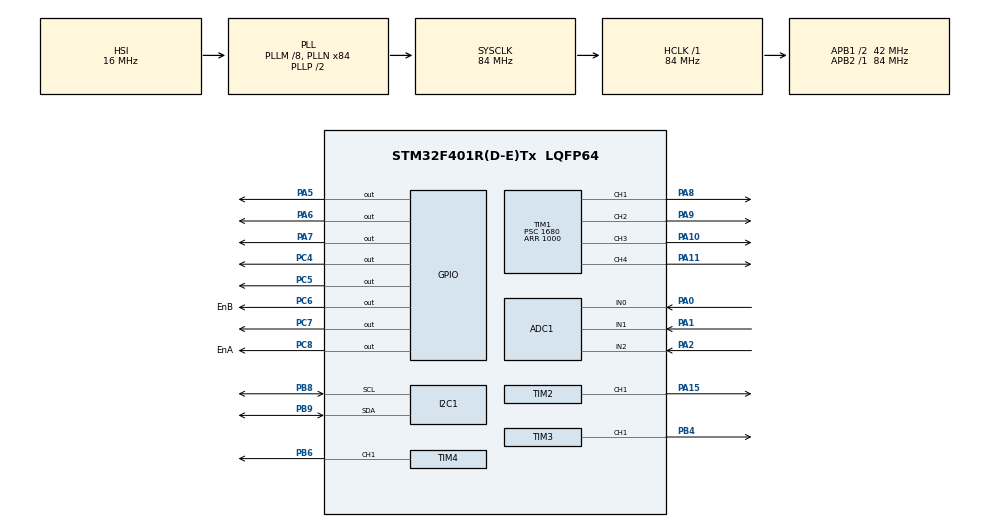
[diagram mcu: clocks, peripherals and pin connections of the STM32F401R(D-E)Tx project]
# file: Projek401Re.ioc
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ADC1.Channel-1\#ChannelRegularConversion=ADC_CHANNEL_0
ADC1.NbrOfConversionFlag=1
ADC1.Rank-1\#ChannelRegularConversion=1
ADC1.SamplingTime-1\#ChannelRegularConversion=ADC_SAMPLETIME_3CYCLES
ADC1.master=1
Mcu.Family=STM32F4
Mcu.Name=STM32F401R(D-E)Tx
Mcu.Package=LQFP64
NVIC.PriorityGroup=NVIC_PRIORITYGROUP_4
PA0-WKUP.Signal=ADCx_IN0
PA1.Signal=ADCx_IN1
PA10.Signal=S_TIM1_CH3
PA11.Signal=S_TIM1_CH4
PA13.Mode=Serial_Wire
PA13.Signal=SYS_JTMS-SWDIO
PA14.Mode=Serial_Wire
PA14.Signal=SYS_JTCK-SWCLK
PA15.Signal=S_TIM2_CH1_ETR
PA2.Signal=ADCx_IN2
PA5.Signal=GPIO_Output
PA6.Signal=GPIO_Output
PA7.Signal=GPIO_Output
PA8.Signal=S_TIM1_CH1
PA9.Signal=S_TIM1_CH2
PB4.Signal=S_TIM3_CH1
PB6.Signal=S_TIM4_CH1
PB8.Mode=I2C
PB8.Signal=I2C1_SCL
PB9.Mode=I2C
PB9.Signal=I2C1_SDA
PC4.Signal=GPIO_Output
PC5.Signal=GPIO_Output
PC6.GPIO_Label=EnB
PC6.Signal=GPIO_Output
PC7.Signal=GPIO_Output
PC8.GPIO_Label=EnA
PC8.Signal=GPIO_Output
PH0\ -\ OSC_IN.Mode=HSE-External-Oscillator
PH0\ -\ OSC_IN.Signal=RCC_OSC_IN
PH1\ -\ OSC_OUT.Mode=HSE-External-Oscillator
PH1\ -\ OSC_OUT.Signal=RCC_OSC_OUT
ProjectManager.HeapSize=0x200
ProjectManager.StackSize=0x400
ProjectManager.TargetToolchain=MDK-ARM V5.27
RCC.48MHZClocksFreq_Value=42000000
RCC.AHBFreq_Value=84000000
RCC.APB1CLKDivider=RCC_HCLK_DIV2
RCC.APB1Freq_Value=42000000
RCC.APB1TimFreq_Value=84000000
RCC.APB2Freq_Value=84000000
RCC.APB2TimFreq_Value=84000000
RCC.CortexFreq_Value=84000000
RCC.HCLKFreq_Value=84000000
RCC.HSE_VALUE=25000000
RCC.HSI_VALUE=16000000
RCC.LSE_VALUE=32768
RCC.PLLM=8
RCC.PLLN=84
RCC.SYSCLKFreq_VALUE=84000000
RCC.SYSCLKSource=RCC_SYSCLKSOURCE_PLLCLK
RCC.VCOOutputFreq_Value=168000000
SH.ADCx_IN0.0=ADC1_IN0,IN0
SH.ADCx_IN1.0=ADC1_IN1,IN1
SH.ADCx_IN2.0=ADC1_IN2,IN2
SH.S_TIM1_CH1.0=TIM1_CH1,PWM Generation1 CH1
SH.S_TIM1_CH2.0=TIM1_CH2,PWM Generation2 CH2
SH.S_TIM1_CH3.0=TIM1_CH3,PWM Generation3 CH3
SH.S_TIM1_CH4.0=TIM1_CH4,PWM Generation4 CH4
SH.S_TIM2_CH1_ETR.0=TIM2_CH1,PWM Generation1 CH1
SH.S_TIM3_CH1.0=TIM3_CH1,PWM Generation1 CH1
SH.S_TIM4_CH1.0=TIM4_CH1,PWM Generation1 CH1
TIM1.Channel-PWM\ Generation1\ CH1=TIM_CHANNEL_1
TIM1.Channel-PWM\ Generation2\ CH2=TIM_CHANNEL_2
TIM1.Channel-PWM\ Generation3\ CH3=TIM_CHANNEL_3
TIM1.Channel-PWM\ Generation4\ CH4=TIM_CHANNEL_4
TIM1.Period=1000
TIM1.Prescaler=1680
TIM2.Channel-PWM\ Generation1\ CH1=TIM_CHANNEL_1
TIM2.Period=1000
TIM2.Prescaler=1680
TIM3.Channel-PWM\ Generation1\ CH1=TIM_CHANNEL_1
TIM3.Period=2000
TIM4.Channel-PWM\ Generation1\ CH1=TIM_CHANNEL_1
TIM4.Period=1740
VP_RTC_VS_RTC_Activate.Mode=RTC_Enabled
VP_RTC_VS_RTC_Calendar.Mode=RTC_Calendar
board=custom

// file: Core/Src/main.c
/* USER CODE BEGIN Header */
/**
  ******************************************************************************
  * @file           : main.c
  * @brief          : Main program body
  ******************************************************************************
  * @attention
  *
  * <h2><center>&copy; Copyright (c) 2022 STMicroelectronics.
  * All rights reserved.</center></h2>
  *
  * This software component is licensed by ST under BSD 3-Clause license,
  * the "License"; You may not use this file except in compliance with the
  * License. You may obtain a copy of the License at:
  *                        opensource.org/licenses/BSD-3-Clause
  *
  ******************************************************************************
  */
/* USER CODE END Header */
#include "main.h"

/* USER CODE BEGIN Includes */
#include "i2c-lcd.h"
#include <stdio.h>
#include "math.h"
/* USER CODE END Includes */

/* USER CODE BEGIN PD */
#define ON 1
#define OFF 0
/* USER CODE END PD */

ADC_HandleTypeDef hadc1;

I2C_HandleTypeDef hi2c1;

RTC_HandleTypeDef hrtc;

TIM_HandleTypeDef htim1;
TIM_HandleTypeDef htim2;
TIM_HandleTypeDef htim3;
TIM_HandleTypeDef htim4;

/* USER CODE BEGIN PV */
int ADC_VAL[3];	//A1 A0
char buffer[80];
RTC_DateTypeDef gDate;
RTC_TimeTypeDef gTime;
int lastTServo,flagServo,degree = 25;
int lastTLCD;
int address[30];
int pumpOn = 0;
int lastTStepper,step;

float voltage;
float voltage2,offset,arus;

uint8_t tick,ts;
float Kp,Ki,Kd;
float setpoint = 13000;
float Err,IErr,DErr,LErr,SumError;
int out;

/*
  Kalau mau set Jam Menit Detik
	Ctrl+F , Cari sTime

	Rubah Variable dibawah menjadi yang diinginkan:
	sTime.Hours = 0x0;
  sTime.Minutes = 0x0;
  sTime.Seconds = 0x0;

	Misal jam 4 sore, menit 30, detik 10:
	sTime.Hours = 0x16;
  sTime.Minutes = 0x30;
  sTime.Seconds = 0x0;
*/
/* USER CODE END PV */

void SystemClock_Config(void);
static void MX_GPIO_Init(void);
static void MX_ADC1_Init(void);
static void MX_I2C1_Init(void);
static void MX_TIM1_Init(void);
static void MX_TIM2_Init(void);
static void MX_RTC_Init(void);
static void MX_TIM4_Init(void);
static void MX_TIM3_Init(void);
/* USER CODE BEGIN PFP */
#define SYSTICKCLOCK 84000000ULL
#define SYSTICKPERUS (SYSTICKCLOCK / 1000000UL)

// delay has to constant expression
static void inline __attribute__((always_inline)) delayus(unsigned delay)
{
    uint32_t ticks = SYSTICKPERUS * delay;
    uint32_t start_tick = SysTick -> VAL;

    while(SysTick -> VAL - start_tick < ticks);
}

void pump(int trig){
		if (trig == 1){
			pumpOn = 1;
			HAL_GPIO_WritePin(GPIOC,GPIO_PIN_7,GPIO_PIN_RESET); // Relay Pompa Menyala dan Servo Sweeping
			if (HAL_GetTick() - lastTServo >= 50){
				if (flagServo == 0) degree++;
				else if (flagServo == 1) degree--;
				if (degree >= 100) flagServo = 1;
				else if (degree <= 50) flagServo = 0;
				lastTServo = HAL_GetTick();
			}
		}
		else if (trig == 0){
			pumpOn = 0;
			HAL_GPIO_WritePin(GPIOC,GPIO_PIN_7,GPIO_PIN_SET); // Relay Pompa Mati dan Servo Default Position
			lastTServo = HAL_GetTick();
			degree = 75;
		}
	}

/* USER CODE END PFP */

/* USER CODE BEGIN 0 */

int map(long x, long in_min, long in_max, long out_min, long out_max) {
  return (x - in_min) * (out_max - out_min) / (in_max - in_min) + out_min;
}

int input = 5;
// 0 - 100% -> 3% 12%

void stepper(int delay,int arah){
		if (arah == 1){
			HAL_GPIO_WritePin(GPIOA,GPIO_PIN_6,GPIO_PIN_SET);//Dir Stepper 1
			HAL_GPIO_WritePin(GPIOC,GPIO_PIN_4,GPIO_PIN_SET);//Dir Stepper 2
		}
		else if (arah == 0){
			HAL_GPIO_WritePin(GPIOA,GPIO_PIN_6,GPIO_PIN_RESET);//Dir Stepper 1
			HAL_GPIO_WritePin(GPIOC,GPIO_PIN_4,GPIO_PIN_RESET);//Dir Stepper 2
		}

		if (HAL_GetTick() - lastTStepper >= 10){
			lastTStepper = HAL_GetTick();

			step ^= 1;
		}

		if (step == 0){
			HAL_GPIO_WritePin(GPIOA,GPIO_PIN_7,GPIO_PIN_SET);//Step ON Stepper 1
			HAL_GPIO_WritePin(GPIOC,GPIO_PIN_5,GPIO_PIN_SET);//Step ON Stepper 2
		}
		else if (step == 1){
			HAL_GPIO_WritePin(GPIOA,GPIO_PIN_7,GPIO_PIN_RESET);//Step OFF Stepper 1
			HAL_GPIO_WritePin(GPIOC,GPIO_PIN_5,GPIO_PIN_RESET);//Step OFF Stepper 2
		}

		//HAL_GPIO_WritePin(GPIOA,GPIO_PIN_7,GPIO_PIN_SET);//Step ON Stepper 1
		//HAL_GPIO_WritePin(GPIOC,GPIO_PIN_5,GPIO_PIN_SET);//Step ON Stepper 2
		//HAL_Delay(10);
		//delayus(500);
		//HAL_GPIO_WritePin(GPIOA,GPIO_PIN_7,GPIO_PIN_RESET);//Step ON Stepper 1
		//HAL_GPIO_WritePin(GPIOC,GPIO_PIN_5,GPIO_PIN_RESET);//Step ON Stepper 2
		//delayus(500);
		//HAL_Delay(10);

}

void ADC_Select_CH0 (void)
{
	ADC_ChannelConfTypeDef sConfig = {0};

	  sConfig.Channel = ADC_CHANNEL_0;
	  sConfig.Rank = 1;
	  sConfig.SamplingTime = ADC_SAMPLETIME_112CYCLES;
	  if (HAL_ADC_ConfigChannel(&hadc1, &sConfig) != HAL_OK)
	  {
	    Error_Handler();
	  }
}

void ADC_Select_CH1 (void)
{
	ADC_ChannelConfTypeDef sConfig = {0};

	  sConfig.Channel = ADC_CHANNEL_1;
	  sConfig.Rank = 1;
	  sConfig.SamplingTime = ADC_SAMPLETIME_112CYCLES;
	  if (HAL_ADC_ConfigChannel(&hadc1, &sConfig) != HAL_OK)
	  {
	    Error_Handler();
	  }
}

void ADC_Select_CH2 (void)
{
		ADC_ChannelConfTypeDef sConfig = {0};
	  sConfig.Channel = ADC_CHANNEL_2;
	  sConfig.Rank = 1;
	  sConfig.SamplingTime = ADC_SAMPLETIME_112CYCLES;
	  if (HAL_ADC_ConfigChannel(&hadc1, &sConfig) != HAL_OK)
	  {
	    Error_Handler();
	  }
}

void ADC_MultiplexData(){

		ADC_Select_CH0();
	  HAL_ADC_Start(&hadc1);
	  HAL_ADC_PollForConversion(&hadc1, 1000);
	  ADC_VAL[0] = HAL_ADC_GetValue(&hadc1);
	  HAL_ADC_Stop(&hadc1);

	  ADC_Select_CH1();
	  HAL_ADC_Start(&hadc1);
	  HAL_ADC_PollForConversion(&hadc1, 1000);
	  ADC_VAL[1] = HAL_ADC_GetValue(&hadc1);
	  HAL_ADC_Stop(&hadc1);

	  ADC_Select_CH2();
	  HAL_ADC_Start(&hadc1);
	  HAL_ADC_PollForConversion(&hadc1, 1000);
	  ADC_VAL[2] = HAL_ADC_GetValue(&hadc1);
	  HAL_ADC_Stop(&hadc1);
}

void ADCCH_0_1(){
		ADC_Select_CH0();
	  HAL_ADC_Start(&hadc1);
	  HAL_ADC_PollForConversion(&hadc1, 1000);
	  ADC_VAL[0] = HAL_ADC_GetValue(&hadc1);
	  HAL_ADC_Stop(&hadc1);

		ADC_Select_CH1();
	  HAL_ADC_Start(&hadc1);
	  HAL_ADC_PollForConversion(&hadc1, 1000);
	  ADC_VAL[1] = HAL_ADC_GetValue(&hadc1);
	  HAL_ADC_Stop(&hadc1);
}

void get_time(void)
{

/* Get the RTC current Time */
 HAL_RTC_GetTime(&hrtc, &gTime, RTC_FORMAT_BIN);
/* Get the RTC current Date */
 HAL_RTC_GetDate(&hrtc, &gDate, RTC_FORMAT_BIN);
/* Display time Format: hh:mm:ss */
 //sprintf((char*)time,"%02d:%02d:%02d",gTime.Hours, gTime.Minutes, gTime.Seconds);
/* Display date Format: dd-mm-yy */
 //sprintf((char*)date,"%02d-%02d-%2d",gDate.Date, gDate.Month, 2000 + gDate.Year);
}

/* USER CODE END 0 */

int main(void)
{

  /* MCU Configuration--------------------------------------------------------*/

  /* Reset of all peripherals, Initializes the Flash interface and the Systick. */
  HAL_Init();

  /* USER CODE BEGIN Init */
	HAL_Delay(100);
	HAL_GPIO_WritePin(GPIOC,GPIO_PIN_7,GPIO_PIN_SET);
  /* USER CODE END Init */

  /* Configure the system clock */
  SystemClock_Config();

  /* Initialize all configured peripherals */
  MX_GPIO_Init();
  MX_ADC1_Init();
  MX_I2C1_Init();
  MX_TIM1_Init();
  MX_TIM2_Init();
  MX_RTC_Init();
  MX_TIM4_Init();
  MX_TIM3_Init();
  /* USER CODE BEGIN 2 */
	HAL_GPIO_WritePin(GPIOC,GPIO_PIN_8,GPIO_PIN_RESET);
	HAL_GPIO_WritePin(GPIOC,GPIO_PIN_6,GPIO_PIN_RESET);
	HAL_Delay(1000);
	lcd_init();
	HAL_Delay(100);
	lcd_clear();
	HAL_Delay(50);

	HAL_TIM_PWM_Start(&htim1, TIM_CHANNEL_1);
	HAL_TIM_PWM_Start(&htim2, TIM_CHANNEL_1);
  HAL_TIM_PWM_Start(&htim4, TIM_CHANNEL_1); //PWM BOOST //MAX 1470 -- 85%
	HAL_TIM_PWM_Start(&htim3, TIM_CHANNEL_1);
	TIM4->CCR1 = 0;//17% - 100 5v -- 200 9v --
	TIM3->CCR1 = 0;

	HAL_Delay(100);

	Kp = 0.02;
	Ki = 0.05;
	Kd = 0;

	int result = map(input,5,10,100,200);

  /* USER CODE END 2 */

  /* Infinite loop */
  while (1)
  {

    /* USER CODE BEGIN 3 */
		//ADC_MultiplexData();
		ADCCH_0_1(); //Fungsi Mengambil ADC
		voltage = (ADC_VAL[0] / 4096.0) * 3300.0 * 12.11; //12700 setpoint
		voltage2 = (ADC_VAL[1] / 4096.0) * 3300.0;
		arus = fabs(((voltage2 - 1650.0) / 100.0));

		// ======================== PI
		if (ts == 1){
			ts = 0;tick = 0;

			Err = setpoint - voltage;
			IErr = SumError;
			SumError += Err * 0.1;
			if (SumError > 50000)
				SumError = 50000;
			else if (SumError < -50000)
				SumError = -50000;
			DErr = Err - LErr;
			LErr = Err;

			out = Kp * Err + Ki * IErr ; //+ (Kd * DErr) / 0.1;

			if (out >= 1470) //1470
				out = 1470;
			else if (out <= 100)
				out = 100;

			if (voltage < 2000)
				SumError = 0;

			//if (voltage > 12750 && voltage < 13250)
			//SumError = 0;
			TIM4->CCR1 = out;
		}
		// ======================== PI

		//========= Program Test Servo ==============//
		/*Program Test lain tolong di comment sebelum mencoba*/
		//HAL_GPIO_WritePin(GPIOA,GPIO_PIN_5,GPIO_PIN_RESET);
		//htim1.Instance->CCR1 = 25;  // duty cycle is .5 ms with 0 degree
		//htim2.Instance->CCR1 = 25;  // duty cycle is .5 ms with 0 degree
	  //HAL_Delay(2000);
		//HAL_GPIO_WritePin(GPIOA,GPIO_PIN_5,GPIO_PIN_SET);
	  //htim1.Instance->CCR1 = 75;  // duty cycle is 1.5 ms with 90 degree
		//htim2.Instance->CCR1 = 75;  // duty cycle is .5 ms with 0 degree
	  //HAL_Delay(2000);
		//HAL_GPIO_WritePin(GPIOA,GPIO_PIN_5,GPIO_PIN_RESET);
	  //htim1.Instance->CCR1 = 125;  // duty cycle is 2.5 ms with 180 degree
		//htim2.Instance->CCR1 = 125;  // duty cycle is .5 ms with 0 degree
	  //HAL_Delay(2000);
		//============================================//

		//=============Program Stepper=================//
		/*Program Test lain tolong di comment sebelum mencoba*/
		stepper(5000,1);
		//=============================================//

		//=============Program Test Relay=================//
		/*Program Test lain tolong di comment sebelum mencoba*/
//		HAL_GPIO_WritePin(GPIOC,GPIO_PIN_7,GPIO_PIN_SET);//Step ON Stepper 2
//		HAL_Delay(1000);
//		HAL_GPIO_WritePin(GPIOC,GPIO_PIN_7,GPIO_PIN_RESET);//Step OFF Stepper 1
		//=============================================//

	get_time();

//	if ((gTime.Hours == 0 && gTime.Minutes == 1) ||
//			(gTime.Hours == 7 && gTime.Minutes == 1)){// jam 7 pagi dan jam 4 sore, menit 0 akan melakukan penyiraman selama 1 menit

	if (gTime.Hours == 0 && gTime.Minutes == 0 && (gTime.Seconds > 10 && gTime.Seconds <= 15)){ //Jalan setiap menit ganjil
		HAL_GPIO_WritePin(GPIOC,GPIO_PIN_8,GPIO_PIN_SET);
		HAL_GPIO_WritePin(GPIOC,GPIO_PIN_6,GPIO_PIN_RESET);
		TIM3->CCR1 = 2000;
		pump(OFF);
	}
	else if (gTime.Hours == 0 && gTime.Minutes == 0 && (gTime.Seconds > 15 && gTime.Seconds <= 20)){ //Jalan setiap menit ganjil
		HAL_GPIO_WritePin(GPIOC,GPIO_PIN_8,GPIO_PIN_RESET);
		HAL_GPIO_WritePin(GPIOC,GPIO_PIN_6,GPIO_PIN_SET);
		TIM3->CCR1 = 2000;
		pump(ON);
	}
	else if (gTime.Hours == 0 && gTime.Minutes == 0 && (gTime.Seconds > 20 && gTime.Seconds <= 25)){ //Jalan setiap menit ganjil
		HAL_GPIO_WritePin(GPIOC,GPIO_PIN_8,GPIO_PIN_SET);
		HAL_GPIO_WritePin(GPIOC,GPIO_PIN_6,GPIO_PIN_RESET);
		TIM3->CCR1 = 2000;
		pump(OFF);
	}
	else if (gTime.Hours == 0 && gTime.Minutes == 0 && (gTime.Seconds > 25 && gTime.Seconds <= 30)){ //Jalan setiap menit ganjil
		HAL_GPIO_WritePin(GPIOC,GPIO_PIN_8,GPIO_PIN_RESET);
		HAL_GPIO_WritePin(GPIOC,GPIO_PIN_6,GPIO_PIN_SET);
		TIM3->CCR1 = 2000;
		pump(ON);
	}
	else {
		HAL_GPIO_WritePin(GPIOC,GPIO_PIN_8,GPIO_PIN_RESET);
		HAL_GPIO_WritePin(GPIOC,GPIO_PIN_6,GPIO_PIN_RESET);
		TIM3->CCR1 = 0;
		pump(OFF);
	}

	if (gTime.Minutes % 2 == 1){ //Jalan setiap menit ganjil
		//pump(ON);
	}
	else {
		//pump(OFF);
	}
	htim1.Instance->CCR1 = degree;  //Servo1
	htim2.Instance->CCR1 = degree;  //Servo2

	if (HAL_GetTick() - lastTLCD > 200){
		lcd_clear();

		lcd_setCursor(0,0);
		sprintf(buffer,"TIME %d:%d:%d",gTime.Hours, gTime.Minutes, gTime.Seconds);
		lcd_puts(buffer);

		if (pumpOn == 1){
			lcd_setCursor(1,0);
			sprintf(buffer,"Pump ON");
			lcd_puts(buffer);
		}
		else {
			lcd_setCursor(1,0);
			sprintf(buffer,"Pump OFF");
			lcd_puts(buffer);
		}

		lcd_setCursor(2,0);
		sprintf(buffer,"Vout Buck : %.2fV",voltage/1000.0);
		lcd_puts(buffer);

		lcd_setCursor(3,0);
		sprintf(buffer,"Iout Buck : %.2fA",arus);
		lcd_puts(buffer);

		lastTLCD = HAL_GetTick();
	}

	}

  /* USER CODE END 3 */
}

void SystemClock_Config(void)
{
  RCC_OscInitTypeDef RCC_OscInitStruct = {0};
  RCC_ClkInitTypeDef RCC_ClkInitStruct = {0};
  RCC_PeriphCLKInitTypeDef PeriphClkInitStruct = {0};

  /** Configure the main internal regulator output voltage
  */
  __HAL_RCC_PWR_CLK_ENABLE();
  __HAL_PWR_VOLTAGESCALING_CONFIG(PWR_REGULATOR_VOLTAGE_SCALE2);
  /** Initializes the RCC Oscillators according to the specified parameters
  * in the RCC_OscInitTypeDef structure.
  */
  RCC_OscInitStruct.OscillatorType = RCC_OSCILLATORTYPE_HSI|RCC_OSCILLATORTYPE_LSI;
  RCC_OscInitStruct.HSIState = RCC_HSI_ON;
  RCC_OscInitStruct.HSICalibrationValue = RCC_HSICALIBRATION_DEFAULT;
  RCC_OscInitStruct.LSIState = RCC_LSI_ON;
  RCC_OscInitStruct.PLL.PLLState = RCC_PLL_ON;
  RCC_OscInitStruct.PLL.PLLSource = RCC_PLLSOURCE_HSI;
  RCC_OscInitStruct.PLL.PLLM = 8;
  RCC_OscInitStruct.PLL.PLLN = 84;
  RCC_OscInitStruct.PLL.PLLP = RCC_PLLP_DIV2;
  RCC_OscInitStruct.PLL.PLLQ = 4;
  if (HAL_RCC_OscConfig(&RCC_OscInitStruct) != HAL_OK)
  {
    Error_Handler();
  }
  /** Initializes the CPU, AHB and APB buses clocks
  */
  RCC_ClkInitStruct.ClockType = RCC_CLOCKTYPE_HCLK|RCC_CLOCKTYPE_SYSCLK
                              |RCC_CLOCKTYPE_PCLK1|RCC_CLOCKTYPE_PCLK2;
  RCC_ClkInitStruct.SYSCLKSource = RCC_SYSCLKSOURCE_PLLCLK;
  RCC_ClkInitStruct.AHBCLKDivider = RCC_SYSCLK_DIV1;
  RCC_ClkInitStruct.APB1CLKDivider = RCC_HCLK_DIV2;
  RCC_ClkInitStruct.APB2CLKDivider = RCC_HCLK_DIV1;

  if (HAL_RCC_ClockConfig(&RCC_ClkInitStruct, FLASH_LATENCY_2) != HAL_OK)
  {
    Error_Handler();
  }
  PeriphClkInitStruct.PeriphClockSelection = RCC_PERIPHCLK_RTC;
  PeriphClkInitStruct.RTCClockSelection = RCC_RTCCLKSOURCE_LSI;
  if (HAL_RCCEx_PeriphCLKConfig(&PeriphClkInitStruct) != HAL_OK)
  {
    Error_Handler();
  }
}

static void MX_ADC1_Init(void)
{

  ADC_ChannelConfTypeDef sConfig = {0};

  /** Configure the global features of the ADC (Clock, Resolution, Data Alignment and number of conversion)
  */
  hadc1.Instance = ADC1;
  hadc1.Init.ClockPrescaler = ADC_CLOCK_SYNC_PCLK_DIV4;
  hadc1.Init.Resolution = ADC_RESOLUTION_12B;
  hadc1.Init.ScanConvMode = DISABLE;
  hadc1.Init.ContinuousConvMode = DISABLE;
  hadc1.Init.DiscontinuousConvMode = DISABLE;
  hadc1.Init.ExternalTrigConvEdge = ADC_EXTERNALTRIGCONVEDGE_NONE;
  hadc1.Init.ExternalTrigConv = ADC_SOFTWARE_START;
  hadc1.Init.DataAlign = ADC_DATAALIGN_RIGHT;
  hadc1.Init.NbrOfConversion = 1;
  hadc1.Init.DMAContinuousRequests = DISABLE;
  hadc1.Init.EOCSelection = ADC_EOC_SINGLE_CONV;
  if (HAL_ADC_Init(&hadc1) != HAL_OK)
  {
    Error_Handler();
  }
  /** Configure for the selected ADC regular channel its corresponding rank in the sequencer and its sample time.
  */
  sConfig.Channel = ADC_CHANNEL_0;
  sConfig.Rank = 1;
  sConfig.SamplingTime = ADC_SAMPLETIME_3CYCLES;
  if (HAL_ADC_ConfigChannel(&hadc1, &sConfig) != HAL_OK)
  {
    Error_Handler();
  }

}

static void MX_I2C1_Init(void)
{

  hi2c1.Instance = I2C1;
  hi2c1.Init.ClockSpeed = 100000;
  hi2c1.Init.DutyCycle = I2C_DUTYCYCLE_2;
  hi2c1.Init.OwnAddress1 = 0;
  hi2c1.Init.AddressingMode = I2C_ADDRESSINGMODE_7BIT;
  hi2c1.Init.DualAddressMode = I2C_DUALADDRESS_DISABLE;
  hi2c1.Init.OwnAddress2 = 0;
  hi2c1.Init.GeneralCallMode = I2C_GENERALCALL_DISABLE;
  hi2c1.Init.NoStretchMode = I2C_NOSTRETCH_DISABLE;
  if (HAL_I2C_Init(&hi2c1) != HAL_OK)
  {
    Error_Handler();
  }

}

static void MX_RTC_Init(void)
{

  RTC_TimeTypeDef sTime = {0};
  RTC_DateTypeDef sDate = {0};

  /** Initialize RTC Only
  */
  hrtc.Instance = RTC;
  hrtc.Init.HourFormat = RTC_HOURFORMAT_24;
  hrtc.Init.AsynchPrediv = 127;
  hrtc.Init.SynchPrediv = 255;
  hrtc.Init.OutPut = RTC_OUTPUT_DISABLE;
  hrtc.Init.OutPutPolarity = RTC_OUTPUT_POLARITY_HIGH;
  hrtc.Init.OutPutType = RTC_OUTPUT_TYPE_OPENDRAIN;
  if (HAL_RTC_Init(&hrtc) != HAL_OK)
  {
    Error_Handler();
  }

  /** Initialize RTC and set the Time and Date
  */
  sTime.Hours = 0x0;
  sTime.Minutes = 0x0;
  sTime.Seconds = 0x0;
  sTime.DayLightSaving = RTC_DAYLIGHTSAVING_NONE;
  sTime.StoreOperation = RTC_STOREOPERATION_RESET;
  if (HAL_RTC_SetTime(&hrtc, &sTime, RTC_FORMAT_BCD) != HAL_OK)
  {
    Error_Handler();
  }
  sDate.WeekDay = RTC_WEEKDAY_MONDAY;
  sDate.Month = RTC_MONTH_JANUARY;
  sDate.Date = 0x1;
  sDate.Year = 0x0;

  if (HAL_RTC_SetDate(&hrtc, &sDate, RTC_FORMAT_BCD) != HAL_OK)
  {
    Error_Handler();
  }

}

static void MX_TIM1_Init(void)
{

  TIM_MasterConfigTypeDef sMasterConfig = {0};
  TIM_OC_InitTypeDef sConfigOC = {0};
  TIM_BreakDeadTimeConfigTypeDef sBreakDeadTimeConfig = {0};

  htim1.Instance = TIM1;
  htim1.Init.Prescaler = 1680;
  htim1.Init.CounterMode = TIM_COUNTERMODE_UP;
  htim1.Init.Period = 1000;
  htim1.Init.ClockDivision = TIM_CLOCKDIVISION_DIV1;
  htim1.Init.RepetitionCounter = 0;
  htim1.Init.AutoReloadPreload = TIM_AUTORELOAD_PRELOAD_DISABLE;
  if (HAL_TIM_PWM_Init(&htim1) != HAL_OK)
  {
    Error_Handler();
  }
  sMasterConfig.MasterOutputTrigger = TIM_TRGO_RESET;
  sMasterConfig.MasterSlaveMode = TIM_MASTERSLAVEMODE_DISABLE;
  if (HAL_TIMEx_MasterConfigSynchronization(&htim1, &sMasterConfig) != HAL_OK)
  {
    Error_Handler();
  }
  sConfigOC.OCMode = TIM_OCMODE_PWM1;
  sConfigOC.Pulse = 0;
  sConfigOC.OCPolarity = TIM_OCPOLARITY_HIGH;
  sConfigOC.OCNPolarity = TIM_OCNPOLARITY_HIGH;
  sConfigOC.OCFastMode = TIM_OCFAST_DISABLE;
  sConfigOC.OCIdleState = TIM_OCIDLESTATE_RESET;
  sConfigOC.OCNIdleState = TIM_OCNIDLESTATE_RESET;
  if (HAL_TIM_PWM_ConfigChannel(&htim1, &sConfigOC, TIM_CHANNEL_1) != HAL_OK)
  {
    Error_Handler();
  }
  if (HAL_TIM_PWM_ConfigChannel(&htim1, &sConfigOC, TIM_CHANNEL_2) != HAL_OK)
  {
    Error_Handler();
  }
  if (HAL_TIM_PWM_ConfigChannel(&htim1, &sConfigOC, TIM_CHANNEL_3) != HAL_OK)
  {
    Error_Handler();
  }
  if (HAL_TIM_PWM_ConfigChannel(&htim1, &sConfigOC, TIM_CHANNEL_4) != HAL_OK)
  {
    Error_Handler();
  }
  sBreakDeadTimeConfig.OffStateRunMode = TIM_OSSR_DISABLE;
  sBreakDeadTimeConfig.OffStateIDLEMode = TIM_OSSI_DISABLE;
  sBreakDeadTimeConfig.LockLevel = TIM_LOCKLEVEL_OFF;
  sBreakDeadTimeConfig.DeadTime = 0;
  sBreakDeadTimeConfig.BreakState = TIM_BREAK_DISABLE;
  sBreakDeadTimeConfig.BreakPolarity = TIM_BREAKPOLARITY_HIGH;
  sBreakDeadTimeConfig.AutomaticOutput = TIM_AUTOMATICOUTPUT_DISABLE;
  if (HAL_TIMEx_ConfigBreakDeadTime(&htim1, &sBreakDeadTimeConfig) != HAL_OK)
  {
    Error_Handler();
  }
  HAL_TIM_MspPostInit(&htim1);

}

static void MX_TIM2_Init(void)
{

  TIM_MasterConfigTypeDef sMasterConfig = {0};
  TIM_OC_InitTypeDef sConfigOC = {0};

  htim2.Instance = TIM2;
  htim2.Init.Prescaler = 1680;
  htim2.Init.CounterMode = TIM_COUNTERMODE_UP;
  htim2.Init.Period = 1000;
  htim2.Init.ClockDivision = TIM_CLOCKDIVISION_DIV1;
  htim2.Init.AutoReloadPreload = TIM_AUTORELOAD_PRELOAD_DISABLE;
  if (HAL_TIM_PWM_Init(&htim2) != HAL_OK)
  {
    Error_Handler();
  }
  sMasterConfig.MasterOutputTrigger = TIM_TRGO_RESET;
  sMasterConfig.MasterSlaveMode = TIM_MASTERSLAVEMODE_DISABLE;
  if (HAL_TIMEx_MasterConfigSynchronization(&htim2, &sMasterConfig) != HAL_OK)
  {
    Error_Handler();
  }
  sConfigOC.OCMode = TIM_OCMODE_PWM1;
  sConfigOC.Pulse = 0;
  sConfigOC.OCPolarity = TIM_OCPOLARITY_HIGH;
  sConfigOC.OCFastMode = TIM_OCFAST_DISABLE;
  if (HAL_TIM_PWM_ConfigChannel(&htim2, &sConfigOC, TIM_CHANNEL_1) != HAL_OK)
  {
    Error_Handler();
  }
  HAL_TIM_MspPostInit(&htim2);

}

static void MX_TIM3_Init(void)
{

  TIM_MasterConfigTypeDef sMasterConfig = {0};
  TIM_OC_InitTypeDef sConfigOC = {0};

  htim3.Instance = TIM3;
  htim3.Init.Prescaler = 0;
  htim3.Init.CounterMode = TIM_COUNTERMODE_UP;
  htim3.Init.Period = 2000;
  htim3.Init.ClockDivision = TIM_CLOCKDIVISION_DIV1;
  htim3.Init.AutoReloadPreload = TIM_AUTORELOAD_PRELOAD_DISABLE;
  if (HAL_TIM_PWM_Init(&htim3) != HAL_OK)
  {
    Error_Handler();
  }
  sMasterConfig.MasterOutputTrigger = TIM_TRGO_RESET;
  sMasterConfig.MasterSlaveMode = TIM_MASTERSLAVEMODE_DISABLE;
  if (HAL_TIMEx_MasterConfigSynchronization(&htim3, &sMasterConfig) != HAL_OK)
  {
    Error_Handler();
  }
  sConfigOC.OCMode = TIM_OCMODE_PWM1;
  sConfigOC.Pulse = 0;
  sConfigOC.OCPolarity = TIM_OCPOLARITY_HIGH;
  sConfigOC.OCFastMode = TIM_OCFAST_DISABLE;
  if (HAL_TIM_PWM_ConfigChannel(&htim3, &sConfigOC, TIM_CHANNEL_1) != HAL_OK)
  {
    Error_Handler();
  }
  HAL_TIM_MspPostInit(&htim3);

}

static void MX_TIM4_Init(void)
{

  TIM_MasterConfigTypeDef sMasterConfig = {0};
  TIM_OC_InitTypeDef sConfigOC = {0};

  htim4.Instance = TIM4;
  htim4.Init.Prescaler = 0;
  htim4.Init.CounterMode = TIM_COUNTERMODE_UP;
  htim4.Init.Period = 1740;
  htim4.Init.ClockDivision = TIM_CLOCKDIVISION_DIV1;
  htim4.Init.AutoReloadPreload = TIM_AUTORELOAD_PRELOAD_DISABLE;
  if (HAL_TIM_PWM_Init(&htim4) != HAL_OK)
  {
    Error_Handler();
  }
  sMasterConfig.MasterOutputTrigger = TIM_TRGO_RESET;
  sMasterConfig.MasterSlaveMode = TIM_MASTERSLAVEMODE_DISABLE;
  if (HAL_TIMEx_MasterConfigSynchronization(&htim4, &sMasterConfig) != HAL_OK)
  {
    Error_Handler();
  }
  sConfigOC.OCMode = TIM_OCMODE_PWM1;
  sConfigOC.Pulse = 0;
  sConfigOC.OCPolarity = TIM_OCPOLARITY_HIGH;
  sConfigOC.OCFastMode = TIM_OCFAST_DISABLE;
  if (HAL_TIM_PWM_ConfigChannel(&htim4, &sConfigOC, TIM_CHANNEL_1) != HAL_OK)
  {
    Error_Handler();
  }
  HAL_TIM_MspPostInit(&htim4);

}

static void MX_GPIO_Init(void)
{
  GPIO_InitTypeDef GPIO_InitStruct = {0};

  /* GPIO Ports Clock Enable */
  __HAL_RCC_GPIOH_CLK_ENABLE();
  __HAL_RCC_GPIOA_CLK_ENABLE();
  __HAL_RCC_GPIOC_CLK_ENABLE();
  __HAL_RCC_GPIOB_CLK_ENABLE();

  /*Configure GPIO pin Output Level */
  HAL_GPIO_WritePin(GPIOA, GPIO_PIN_5|GPIO_PIN_6|GPIO_PIN_7, GPIO_PIN_RESET);

  /*Configure GPIO pin Output Level */
  HAL_GPIO_WritePin(GPIOC, GPIO_PIN_4|GPIO_PIN_5|EnB_Pin|GPIO_PIN_7
                          |EnA_Pin, GPIO_PIN_RESET);

  /*Configure GPIO pins : PA5 PA6 PA7 */
  GPIO_InitStruct.Pin = GPIO_PIN_5|GPIO_PIN_6|GPIO_PIN_7;
  GPIO_InitStruct.Mode = GPIO_MODE_OUTPUT_PP;
  GPIO_InitStruct.Pull = GPIO_NOPULL;
  GPIO_InitStruct.Speed = GPIO_SPEED_FREQ_LOW;
  HAL_GPIO_Init(GPIOA, &GPIO_InitStruct);

  /*Configure GPIO pins : PC4 PC5 EnB_Pin PC7
                           EnA_Pin */
  GPIO_InitStruct.Pin = GPIO_PIN_4|GPIO_PIN_5|EnB_Pin|GPIO_PIN_7
                          |EnA_Pin;
  GPIO_InitStruct.Mode = GPIO_MODE_OUTPUT_PP;
  GPIO_InitStruct.Pull = GPIO_NOPULL;
  GPIO_InitStruct.Speed = GPIO_SPEED_FREQ_LOW;
  HAL_GPIO_Init(GPIOC, &GPIO_InitStruct);

}

void Error_Handler(void)
{
  __disable_irq();
  while (1)
  {
  }
}

/************************ (C) COPYRIGHT STMicroelectronics *****END OF FILE****/
